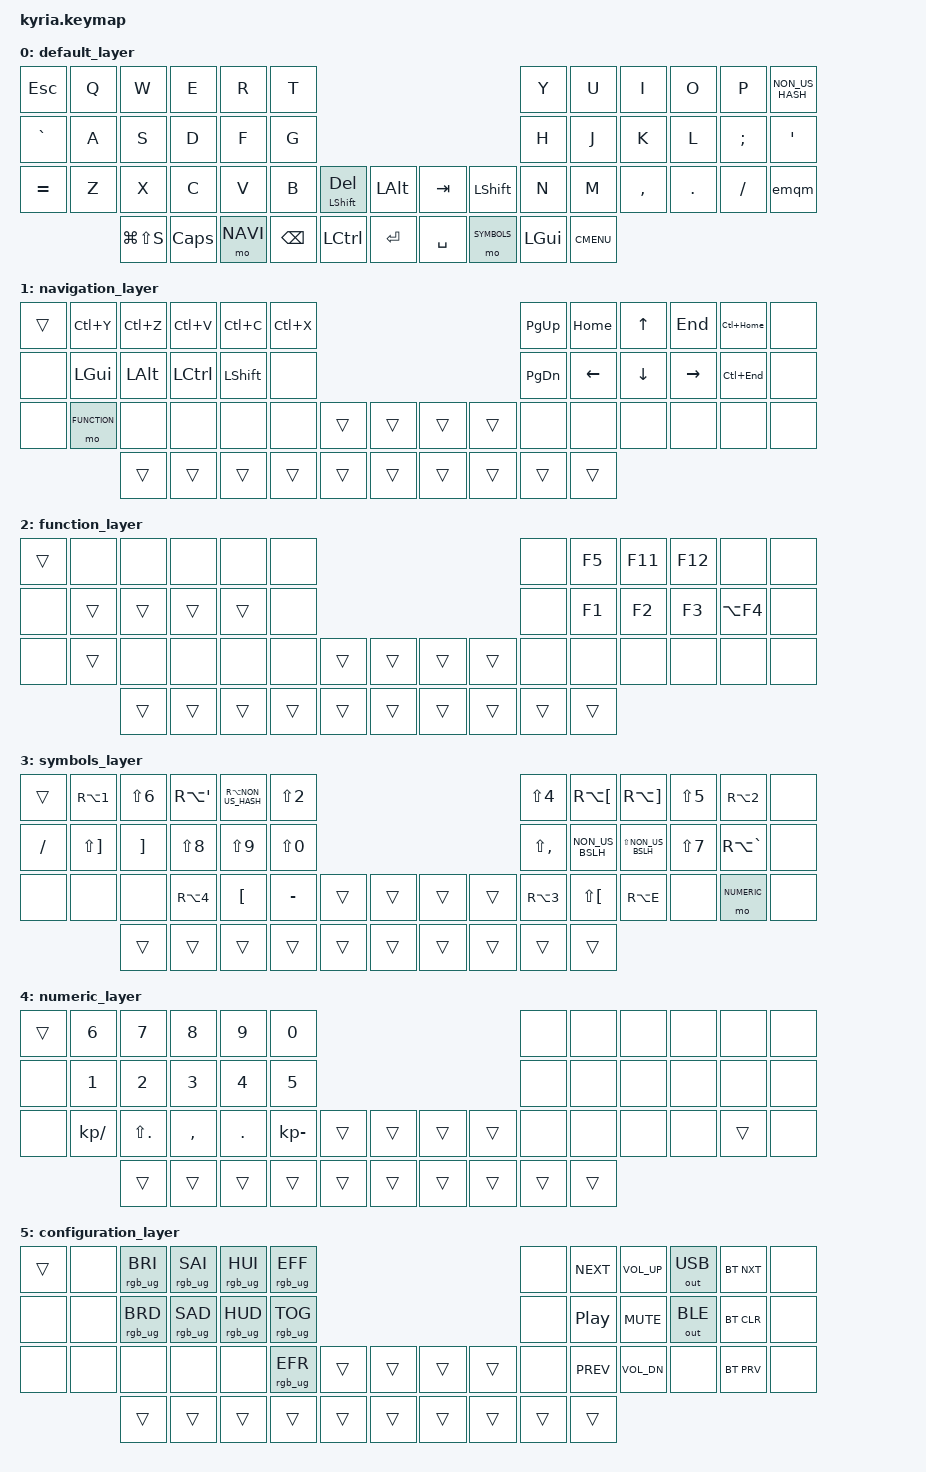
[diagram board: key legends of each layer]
/*
 * Copyright (c) 2020-2022 The ZMK Contributors
 *
 * SPDX-License-Identifier: MIT
 */

#include <behaviors.dtsi>
#include <dt-bindings/zmk/keys.h>
#include <dt-bindings/zmk/bt.h>
#include <dt-bindings/zmk/ext_power.h>
#include <dt-bindings/zmk/outputs.h>
#include <dt-bindings/zmk/rgb.h>
#include <../boards/shields/kyria/boards/nice_nano.overlay>

#define DEFAULT  0
#define NAVI     1
#define FUNCTION 2
#define SYMBOLS  3
#define NUMERIC  4
#define CONFIG   5

/ {
	conditional_layers {
		compatible = "zmk,conditional-layers";
		tri_layer {
			if-layers = <NAVI SYMBOLS>;
			then-layer = <CONFIG>;
		};
	};
	
	behaviors {
		emqm: exclamation_mark_question_mark {
			compatible = "zmk,behavior-mod-morph";
			label = "EM_QM";
			#binding-cells = <0>;
			bindings = <&kp LS(N1)>, <&kp LS(MINUS)>;
			mods = <(MOD_LSFT)>;
		};
	};

	keymap {
		compatible = "zmk,keymap";

		default_layer {
// ---------------------------------------------------------------------------------------------------------------------------------
// |  ESC  |  Q  |  W  |  E   |  R   |  T   |                                          |  Y   |  U    |  I    |  O   |   P   |   Ç  |
// |   º   |  A  |  S  |  D   |  F   |  G   |                                          |  H   |  J    |  K    |  L   |   Ñ   |   ´  |
// |   ¿   |  Z  |  X  |  C   |  V   |  B   | DEL LSF |   ALT   |  |   TAB   | L SHIFT |  N   |  M    |  ,    |  .   |   -   |   ?  |
//                     |W+Sh+S| CAPS | NAV  |  BSPC   |   CTRL  |  |  ENTER  |  SPACE  | SYM  | GUI   |  ≡    |
			bindings = <
	&kp ESC   &kp Q &kp W         &kp E       &kp R    &kp T                                                    &kp Y    &kp U       &kp I     &kp O   &kp P    &kp NON_US_HASH
	&kp GRAVE &kp A &kp S         &kp D       &kp F    &kp G                                                    &kp H    &kp J       &kp K     &kp L   &kp SEMI &kp SQT
	&kp EQUAL &kp Z &kp X         &kp C       &kp V    &kp B    &mt LSHFT DEL  &kp LALT   &kp TAB   &kp LSHFT   &kp N    &kp M       &kp COMMA &kp DOT &kp FSLH &emqm
					&kp LG(LS(S)) &kp CAPS    &mo NAVI &kp BSPC &kp LCTRL      &kp RET    &kp SPACE &mo SYMBOLS &kp LGUI &kp K_CMENU
			>;
		};

		navigation_layer {
// ---------------------------------------------------------------------------------------------------------------------------------
// |       | CtY | CtZ | Ct+V | Ct+C | Ct+X |                                          | PaUp | Home  |  Up   | End  | C+Hom |      |
// |       | GUI | ALT | CTRL | LSFT |      |                                          | PaDn | Left  | Down  |Right | C+End |      |
// |       | FUN |     |      |      |      |         |         |  |         |         |      |       |       |      |       |      |
//                     |      |      |      |         |         |  |         |         |      |       |       |
			bindings = <
	&trans &kp LC(Y)    &kp LC(Z) &kp LC(V) &kp LC(C) &kp LC(X)                               &kp PG_UP &kp HOME &kp UP   &kp END   &kp LC(HOME) &none
	&none  &kp LGUI     &kp LALT  &kp LCTRL &kp LSHFT &none                                   &kp PG_DN &kp LEFT &kp DOWN &kp RIGHT &kp LC(END)  &none
	&none  &mo FUNCTION &none     &none     &none     &none     &trans &trans   &trans &trans &none     &none    &none    &none     &none        &none
								  &trans    &trans    &trans    &trans &trans   &trans &trans &trans    &trans   &trans
			>;
		};

		function_layer {
// ---------------------------------------------------------------------------------------------------------------------------------
// |       |     |     |      |      |      |                                          |      |  F5   |  F11  | F12  |       |      |
// |       |     |     |      |      |      |                                          |      |  F1   |  F2   | F3   |ALT+F4 |      |
// |       |     |     |      |      |      |         |         |  |         |         |      |       |       |      |       |      |
//                     |      |      |      |         |         |  |         |         |      |       |       |
			bindings = <
	&trans &none  &none  &none  &none  &none                                &none  &kp F5 &kp F11 &kp F12 &none      &none
	&none  &trans &trans &trans &trans &none                                &none  &kp F1 &kp F2  &kp F3  &kp LA(F4) &none
	&none  &trans &none  &none  &none  &none  &trans &trans   &trans &trans &none  &none  &none   &none   &none      &none
						 &trans &trans &trans &trans &trans   &trans &trans &trans &trans &trans
			>;
		};

		symbols_layer {
// ---------------------------------------------------------------------------------------------------------------------------------
// |       |  |  |  &  |   {  |  }   |  "   |                                          |  $   |   [   |   ]   |  %   |   @   |      |
// |   -   |  *  |  +  |   (  |  )   |  =   |                                          |  ;   |   <   |   >   |  /   |   \   |      |
// |       |     |     |   ~  |  `   |  '   |         |         |  |         |         |  #   |   ^   |   €   |      |  NUM  |      |
//                     |      |      |      |         |         |  |         |         |      |       |       |
			bindings = <
	&trans    &kp RA(N1)   &kp LS(N6) &kp RA(SQT) &kp RA(NON_US_HASH) &kp LS(N2)                               &kp LS(N4)    &kp RA(LBKT)    &kp RA(RBKT)        &kp LS(N5) &kp RA(N2)    &none
	&kp SLASH &kp LS(RBKT) &kp RBKT   &kp LS(N8)  &kp LS(N9)          &kp LS(N0)                               &kp LS(COMMA) &kp NON_US_BSLH &kp LS(NON_US_BSLH) &kp LS(N7) &kp RA(GRAVE) &none
	&none     &none        &none      &kp RA(N4)  &kp LBKT            &kp MINUS  &trans &trans   &trans &trans &kp RA(N3)    &kp LS(LBKT)    &kp RA(E)           &none      &mo NUMERIC   &none
									  &trans      &trans              &trans     &trans &trans   &trans &trans &trans        &trans          &trans
			>;
		};

		numeric_layer {
// ---------------------------------------------------------------------------------------------------------------------------------
// |       |  6  |  7  |   8  |   9  |   0  |                                          |       |       |      |      |       |      |
// |       |  1  |  2  |   3  |   4  |   5  |                                          |       |       |      |      |       |      |
// |       |  /  |  :  |   ,  |   .  |   -  |         |         |  |         |         |       |       |      |      | TRANS |      |
//                     |      |      |      |         |         |  |         |         |       |       |      |
			bindings = <
	&trans &kp N6       &kp N7      &kp N8    &kp N9  &kp N0                                      &none  &none  &none &none &none  &none
	&none  &kp N1       &kp N2      &kp N3    &kp N4  &kp N5                                      &none  &none  &none &none &none  &none
	&none  &kp KP_SLASH &kp LS(DOT) &kp COMMA &kp DOT &kp KP_MINUS  &trans &trans   &trans &trans &none  &none  &none &none &trans &none
									&trans    &trans  &trans        &trans &trans   &trans &trans &trans &trans &trans
			>;
		};

		configuration_layer {
// ---------------------------------------------------------------------------------------------------------------------------------
// |        |    | BRI | SAI  | HUI  | EFF  |                                          |       | NEXT  | VOLUP| OUSB | BTNEXT|      |
// |        |    | BRD | SAD  | HUD  | TOG  |                                          |       | PLAY  | MUTE | OBLE | BT_CLR|      |
// |        |    |     |      |      | EFR  |         |         |  |         |         |       | PREV  | VOLDN|      | BTPREV|      |
//                     |      |      |      |         |         |  |         |         |       |       |      |
			bindings = <
	&trans &none &rgb_ug RGB_BRI &rgb_ug RGB_SAI &rgb_ug RGB_HUI &rgb_ug RGB_EFF                             &none  &kp C_NEXT &kp C_VOL_UP &out OUT_USB &bt BT_NXT &none
	&none  &none &rgb_ug RGB_BRD &rgb_ug RGB_SAD &rgb_ug RGB_HUD &rgb_ug RGB_TOG                             &none  &kp C_PP   &kp C_MUTE   &out OUT_BLE &bt BT_CLR &none
	&none  &none &none           &none           &none           &rgb_ug RGB_EFR &trans &trans &trans &trans &none  &kp C_PREV &kp C_VOL_DN &none        &bt BT_PRV &none
								 &trans          &trans          &trans          &trans &trans &trans &trans &trans &trans     &trans
			>;
		};
	};
};
